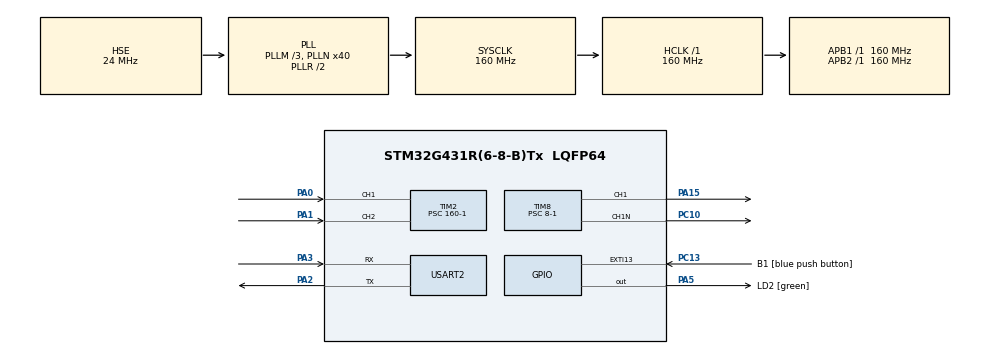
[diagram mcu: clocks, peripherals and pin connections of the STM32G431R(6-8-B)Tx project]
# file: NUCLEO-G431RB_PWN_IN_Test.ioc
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Mcu.Family=STM32G4
Mcu.Name=STM32G431R(6-8-B)Tx
Mcu.Package=LQFP64
NVIC.PriorityGroup=NVIC_PRIORITYGROUP_4
NVIC.TIM2_IRQn=true\:0\:0\:false\:false\:true\:true\:true\:true
NVIC.TIM6_DAC_IRQn=true\:15\:0\:false\:false\:true\:false\:true\:true
NVIC.TimeBase=TIM6_DAC_IRQn
NVIC.TimeBaseIP=TIM6
NVIC.USART2_IRQn=true\:0\:0\:false\:false\:true\:true\:true\:true
PA0.Signal=S_TIM2_CH1
PA1.Signal=S_TIM2_CH2
PA13.GPIO_Label=T_SWDIO
PA13.Mode=Serial_Wire
PA13.Signal=SYS_JTMS-SWDIO
PA14.GPIO_Label=T_SWCLK
PA14.Mode=Serial_Wire
PA14.Signal=SYS_JTCK-SWCLK
PA15.Signal=S_TIM8_CH1
PA2.Mode=Asynchronous
PA2.Signal=USART2_TX
PA3.Mode=Asynchronous
PA3.Signal=USART2_RX
PA5.GPIO_Label=LD2 [green]
PA5.Signal=GPIO_Output
PC10.Mode=PWM Generation1 CH1 CH1N
PC10.Signal=TIM8_CH1N
PC13.GPIO_Label=B1 [blue push button]
PC13.Signal=GPXTI13
PC14-OSC32_IN.Mode=LSE-External-Oscillator
PC14-OSC32_IN.Signal=RCC_OSC32_IN
PC15-OSC32_OUT.Mode=LSE-External-Oscillator
PC15-OSC32_OUT.Signal=RCC_OSC32_OUT
PF0-OSC_IN.Mode=HSE-External-Oscillator
PF0-OSC_IN.Signal=RCC_OSC_IN
PF1-OSC_OUT.Mode=HSE-External-Oscillator
PF1-OSC_OUT.Signal=RCC_OSC_OUT
ProjectManager.HeapSize=0x200
ProjectManager.StackSize=0x400
ProjectManager.TargetToolchain=STM32CubeIDE
RCC.ADC12Freq_Value=160000000
RCC.AHBFreq_Value=160000000
RCC.APB1Freq_Value=160000000
RCC.APB1TimFreq_Value=160000000
RCC.APB2Freq_Value=160000000
RCC.APB2TimFreq_Value=160000000
RCC.CortexFreq_Value=160000000
RCC.EXTERNAL_CLOCK_VALUE=12288000
RCC.HCLKFreq_Value=160000000
RCC.HSE_VALUE=24000000
RCC.HSI48_VALUE=48000000
RCC.HSI_VALUE=16000000
RCC.PLLM=RCC_PLLM_DIV3
RCC.PLLN=40
RCC.PLLSourceVirtual=RCC_PLLSOURCE_HSE
RCC.RTCClockSelection=RCC_RTCCLKSOURCE_LSE
RCC.SYSCLKFreq_VALUE=160000000
RCC.SYSCLKSource=RCC_SYSCLKSOURCE_PLLCLK
RCC.USBFreq_Value=160000000
RCC.VCOOutputFreq_Value=320000000
SH.S_TIM2_CH1.0=TIM2_CH1,Input_Capture1_from_TI1
SH.S_TIM2_CH2.0=TIM2_CH2,Input_Capture2_from_TI2
SH.S_TIM8_CH1.0=TIM8_CH1,PWM Generation1 CH1 CH1N
TIM2.Channel-Input_Capture1_from_TI1=TIM_CHANNEL_1
TIM2.Channel-Input_Capture2_from_TI2=TIM_CHANNEL_2
TIM2.ICPolarity_CH1=TIM_INPUTCHANNELPOLARITY_BOTHEDGE
TIM2.ICPolarity_CH2=TIM_INPUTCHANNELPOLARITY_BOTHEDGE
TIM2.PeriodNoDither=65535
TIM2.Prescaler=160-1
TIM8.Channel-PWM\ Generation1\ CH1\ CH1N=TIM_CHANNEL_1
TIM8.PeriodNoDither=1000-1
TIM8.Prescaler=8-1
USART2.VirtualMode-Asynchronous=VM_ASYNC
VP_SYS_VS_DBSignals.Mode=DisableDeadBatterySignals
VP_SYS_VS_tim6.Mode=TIM6
VP_TIM2_VS_ClockSourceINT.Mode=Internal
VP_TIM8_VS_ClockSourceINT.Mode=Internal
board=NUCLEO-G431RB

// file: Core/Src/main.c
/* USER CODE BEGIN Header */
/**
 ******************************************************************************
 * @file           : main.c
 * @brief          : Main program body
 ******************************************************************************
 * @attention
 *
 * Copyright (c) 2023 STMicroelectronics.
 * All rights reserved.
 *
 * This software is licensed under terms that can be found in the LICENSE file
 * in the root directory of this software component.
 * If no LICENSE file comes with this software, it is provided AS-IS.
 *
 ******************************************************************************
 */
/* USER CODE END Header */
#include "main.h"

/* USER CODE BEGIN PD */
#define uartTxBufferSize 64
/* USER CODE END PD */

TIM_HandleTypeDef htim2;
TIM_HandleTypeDef htim8;

UART_HandleTypeDef huart2;

/* USER CODE BEGIN PV */
uint8_t uartTxBuffer[uartTxBufferSize];
uint8_t countPrint=0;
/* USER CODE END PV */

void SystemClock_Config(void);
static void MX_GPIO_Init(void);
static void MX_TIM8_Init(void);
static void MX_USART2_UART_Init(void);
static void MX_TIM2_Init(void);

/* USER CODE BEGIN 0 */
uint32_t IcChannel1Up, IcChannel1Down, IcChannel2Up, IcChannel2Down = 0;
uint32_t IcDiffChannel1, IcDiffChannel2, IcDiffDeadTime12, IcDiffDeadTime21 = 0;
int IsFirstCapturedChannel1,IsFirstCapturedChannel2 = 0;
// Frequency
float frequency1, frequency2 = 0;
void HAL_TIM_IC_CaptureCallback(TIM_HandleTypeDef *htim)
{
	if(htim->Channel == HAL_TIM_ACTIVE_CHANNEL_1){
		if(IsFirstCapturedChannel1==0){
			IcChannel1Up = HAL_TIM_ReadCapturedValue(htim, TIM_CHANNEL_1);
			IsFirstCapturedChannel1 = 1;
		}
		else{
			IcChannel1Down = HAL_TIM_ReadCapturedValue(htim, TIM_CHANNEL_1);
			if(IcChannel1Down > IcChannel1Up){
				IcDiffChannel1 = IcChannel1Down-IcChannel1Up;
			}
			else{
				IcDiffChannel1 = (0xFFFF- IcChannel1Up) + IcChannel1Down;
			}

			float refClk = 1000000;

			frequency1 = refClk/IcDiffChannel1;

			//__HAL_TIM_SET_COUNTER(htim,0);
			IsFirstCapturedChannel1 = 0;

		}
	}

	if(htim->Channel == HAL_TIM_ACTIVE_CHANNEL_2){
		if(IsFirstCapturedChannel2==0){
			IcChannel2Down = HAL_TIM_ReadCapturedValue(htim, TIM_CHANNEL_2);
			IsFirstCapturedChannel2 = 1;
		}
		else{
			IcChannel2Up = HAL_TIM_ReadCapturedValue(htim, TIM_CHANNEL_2);
			if(IcChannel2Down > IcChannel2Up){
				IcDiffChannel2 = IcChannel2Down-IcChannel2Up;
			}
			else{
				IcDiffChannel2 = (0xFFFF- IcChannel2Up) + IcChannel2Down;
			}

			float refClk = 1000000;

			frequency2 = refClk/IcDiffChannel2;

			//__HAL_TIM_SET_COUNTER(htim,0);
			IsFirstCapturedChannel2 = 0;

		}
	}

}
/* USER CODE END 0 */

int main(void)
{

  /* MCU Configuration--------------------------------------------------------*/

  /* Reset of all peripherals, Initializes the Flash interface and the Systick. */
  HAL_Init();

  /* Configure the system clock */
  SystemClock_Config();

  /* Initialize all configured peripherals */
  MX_GPIO_Init();
  MX_TIM8_Init();
  MX_USART2_UART_Init();
  MX_TIM2_Init();
  /* USER CODE BEGIN 2 */
	__HAL_TIM_SET_COMPARE(&htim8,TIM_CHANNEL_1,300);
	HAL_TIM_PWM_Start(&htim8, TIM_CHANNEL_1);
	HAL_TIMEx_PWMN_Start(&htim8, TIM_CHANNEL_1);

	HAL_TIM_IC_Start_IT(&htim2, TIM_CHANNEL_1);
	HAL_TIM_IC_Start_IT(&htim2, TIM_CHANNEL_2);
  /* USER CODE END 2 */

  /* Infinite loop */
  /* USER CODE BEGIN WHILE */
	while (1)
	{
		if(countPrint==0){
			int printSize;
			printSize = snprintf(uartTxBuffer, uartTxBufferSize,"Frequency = %5.1f,Frequency = %5.1f,\r\n",frequency1,frequency2);
			HAL_UART_Transmit(&huart2, uartTxBuffer, printSize, 100);

		}
		HAL_Delay(1000);
    /* USER CODE END WHILE */

	}
}

/**
  * @brief System Clock Configurat500ion
  * @retval None
  */
void SystemClock_Config(void)
{
  RCC_OscInitTypeDef RCC_OscInitStruct = {0};
  RCC_ClkInitTypeDef RCC_ClkInitStruct = {0};

  /** Configure the main internal regulator output voltage
  */
  HAL_PWREx_ControlVoltageScaling(PWR_REGULATOR_VOLTAGE_SCALE1_BOOST);

  /** Initializes the RCC Oscillators according to the specified parameters
  * in the RCC_OscInitTypeDef structure.
  */
  RCC_OscInitStruct.OscillatorType = RCC_OSCILLATORTYPE_HSE;
  RCC_OscInitStruct.HSEState = RCC_HSE_ON;
  RCC_OscInitStruct.PLL.PLLState = RCC_PLL_ON;
  RCC_OscInitStruct.PLL.PLLSource = RCC_PLLSOURCE_HSE;
  RCC_OscInitStruct.PLL.PLLM = RCC_PLLM_DIV3;
  RCC_OscInitStruct.PLL.PLLN = 40;
  RCC_OscInitStruct.PLL.PLLP = RCC_PLLP_DIV2;
  RCC_OscInitStruct.PLL.PLLQ = RCC_PLLQ_DIV2;
  RCC_OscInitStruct.PLL.PLLR = RCC_PLLR_DIV2;
  if (HAL_RCC_OscConfig(&RCC_OscInitStruct) != HAL_OK)
  {
    Error_Handler();
  }

  /** Initializes the CPU, AHB and APB buses clocks
  */
  RCC_ClkInitStruct.ClockType = RCC_CLOCKTYPE_HCLK|RCC_CLOCKTYPE_SYSCLK
                              |RCC_CLOCKTYPE_PCLK1|RCC_CLOCKTYPE_PCLK2;
  RCC_ClkInitStruct.SYSCLKSource = RCC_SYSCLKSOURCE_PLLCLK;
  RCC_ClkInitStruct.AHBCLKDivider = RCC_SYSCLK_DIV1;
  RCC_ClkInitStruct.APB1CLKDivider = RCC_HCLK_DIV1;
  RCC_ClkInitStruct.APB2CLKDivider = RCC_HCLK_DIV1;

  if (HAL_RCC_ClockConfig(&RCC_ClkInitStruct, FLASH_LATENCY_4) != HAL_OK)
  {
    Error_Handler();
  }
}

static void MX_TIM2_Init(void)
{

  TIM_ClockConfigTypeDef sClockSourceConfig = {0};
  TIM_MasterConfigTypeDef sMasterConfig = {0};
  TIM_IC_InitTypeDef sConfigIC = {0};

  htim2.Instance = TIM2;
  htim2.Init.Prescaler = 160-1;
  htim2.Init.CounterMode = TIM_COUNTERMODE_UP;
  htim2.Init.Period = 65535;
  htim2.Init.ClockDivision = TIM_CLOCKDIVISION_DIV1;
  htim2.Init.AutoReloadPreload = TIM_AUTORELOAD_PRELOAD_DISABLE;
  if (HAL_TIM_Base_Init(&htim2) != HAL_OK)
  {
    Error_Handler();
  }
  sClockSourceConfig.ClockSource = TIM_CLOCKSOURCE_INTERNAL;
  if (HAL_TIM_ConfigClockSource(&htim2, &sClockSourceConfig) != HAL_OK)
  {
    Error_Handler();
  }
  if (HAL_TIM_IC_Init(&htim2) != HAL_OK)
  {
    Error_Handler();
  }
  sMasterConfig.MasterOutputTrigger = TIM_TRGO_RESET;
  sMasterConfig.MasterSlaveMode = TIM_MASTERSLAVEMODE_DISABLE;
  if (HAL_TIMEx_MasterConfigSynchronization(&htim2, &sMasterConfig) != HAL_OK)
  {
    Error_Handler();
  }
  sConfigIC.ICPolarity = TIM_INPUTCHANNELPOLARITY_BOTHEDGE;
  sConfigIC.ICSelection = TIM_ICSELECTION_DIRECTTI;
  sConfigIC.ICPrescaler = TIM_ICPSC_DIV1;
  sConfigIC.ICFilter = 0;
  if (HAL_TIM_IC_ConfigChannel(&htim2, &sConfigIC, TIM_CHANNEL_1) != HAL_OK)
  {
    Error_Handler();
  }
  if (HAL_TIM_IC_ConfigChannel(&htim2, &sConfigIC, TIM_CHANNEL_2) != HAL_OK)
  {
    Error_Handler();
  }

}

static void MX_TIM8_Init(void)
{

  TIM_ClockConfigTypeDef sClockSourceConfig = {0};
  TIM_MasterConfigTypeDef sMasterConfig = {0};
  TIM_OC_InitTypeDef sConfigOC = {0};
  TIM_BreakDeadTimeConfigTypeDef sBreakDeadTimeConfig = {0};

  htim8.Instance = TIM8;
  htim8.Init.Prescaler = 8-1;
  htim8.Init.CounterMode = TIM_COUNTERMODE_UP;
  htim8.Init.Period = 999;
  htim8.Init.ClockDivision = TIM_CLOCKDIVISION_DIV1;
  htim8.Init.RepetitionCounter = 0;
  htim8.Init.AutoReloadPreload = TIM_AUTORELOAD_PRELOAD_DISABLE;
  if (HAL_TIM_Base_Init(&htim8) != HAL_OK)
  {
    Error_Handler();
  }
  sClockSourceConfig.ClockSource = TIM_CLOCKSOURCE_INTERNAL;
  if (HAL_TIM_ConfigClockSource(&htim8, &sClockSourceConfig) != HAL_OK)
  {
    Error_Handler();
  }
  if (HAL_TIM_PWM_Init(&htim8) != HAL_OK)
  {
    Error_Handler();
  }
  sMasterConfig.MasterOutputTrigger = TIM_TRGO_RESET;
  sMasterConfig.MasterOutputTrigger2 = TIM_TRGO2_RESET;
  sMasterConfig.MasterSlaveMode = TIM_MASTERSLAVEMODE_DISABLE;
  if (HAL_TIMEx_MasterConfigSynchronization(&htim8, &sMasterConfig) != HAL_OK)
  {
    Error_Handler();
  }
  sConfigOC.OCMode = TIM_OCMODE_PWM1;
  sConfigOC.Pulse = 0;
  sConfigOC.OCPolarity = TIM_OCPOLARITY_HIGH;
  sConfigOC.OCNPolarity = TIM_OCNPOLARITY_HIGH;
  sConfigOC.OCFastMode = TIM_OCFAST_DISABLE;
  sConfigOC.OCIdleState = TIM_OCIDLESTATE_RESET;
  sConfigOC.OCNIdleState = TIM_OCNIDLESTATE_RESET;
  if (HAL_TIM_PWM_ConfigChannel(&htim8, &sConfigOC, TIM_CHANNEL_1) != HAL_OK)
  {
    Error_Handler();
  }
  sBreakDeadTimeConfig.OffStateRunMode = TIM_OSSR_DISABLE;
  sBreakDeadTimeConfig.OffStateIDLEMode = TIM_OSSI_DISABLE;
  sBreakDeadTimeConfig.LockLevel = TIM_LOCKLEVEL_OFF;
  sBreakDeadTimeConfig.DeadTime = 0;
  sBreakDeadTimeConfig.BreakState = TIM_BREAK_DISABLE;
  sBreakDeadTimeConfig.BreakPolarity = TIM_BREAKPOLARITY_HIGH;
  sBreakDeadTimeConfig.BreakFilter = 0;
  sBreakDeadTimeConfig.BreakAFMode = TIM_BREAK_AFMODE_INPUT;
  sBreakDeadTimeConfig.Break2State = TIM_BREAK2_DISABLE;
  sBreakDeadTimeConfig.Break2Polarity = TIM_BREAK2POLARITY_HIGH;
  sBreakDeadTimeConfig.Break2Filter = 0;
  sBreakDeadTimeConfig.Break2AFMode = TIM_BREAK_AFMODE_INPUT;
  sBreakDeadTimeConfig.AutomaticOutput = TIM_AUTOMATICOUTPUT_DISABLE;
  if (HAL_TIMEx_ConfigBreakDeadTime(&htim8, &sBreakDeadTimeConfig) != HAL_OK)
  {
    Error_Handler();
  }
  HAL_TIM_MspPostInit(&htim8);

}

static void MX_USART2_UART_Init(void)
{

  huart2.Instance = USART2;
  huart2.Init.BaudRate = 115200;
  huart2.Init.WordLength = UART_WORDLENGTH_8B;
  huart2.Init.StopBits = UART_STOPBITS_1;
  huart2.Init.Parity = UART_PARITY_NONE;
  huart2.Init.Mode = UART_MODE_TX_RX;
  huart2.Init.HwFlowCtl = UART_HWCONTROL_NONE;
  huart2.Init.OverSampling = UART_OVERSAMPLING_16;
  huart2.Init.OneBitSampling = UART_ONE_BIT_SAMPLE_DISABLE;
  huart2.Init.ClockPrescaler = UART_PRESCALER_DIV1;
  huart2.AdvancedInit.AdvFeatureInit = UART_ADVFEATURE_NO_INIT;
  if (HAL_UART_Init(&huart2) != HAL_OK)
  {
    Error_Handler();
  }
  if (HAL_UARTEx_SetTxFifoThreshold(&huart2, UART_TXFIFO_THRESHOLD_1_8) != HAL_OK)
  {
    Error_Handler();
  }
  if (HAL_UARTEx_SetRxFifoThreshold(&huart2, UART_RXFIFO_THRESHOLD_1_8) != HAL_OK)
  {
    Error_Handler();
  }
  if (HAL_UARTEx_DisableFifoMode(&huart2) != HAL_OK)
  {
    Error_Handler();
  }

}

static void MX_GPIO_Init(void)
{
  GPIO_InitTypeDef GPIO_InitStruct = {0};

  /* GPIO Ports Clock Enable */
  __HAL_RCC_GPIOC_CLK_ENABLE();
  __HAL_RCC_GPIOF_CLK_ENABLE();
  __HAL_RCC_GPIOA_CLK_ENABLE();

  /*Configure GPIO pin Output Level */
  HAL_GPIO_WritePin(LD2_GPIO_Port, LD2_Pin, GPIO_PIN_RESET);

  /*Configure GPIO pin : B1_Pin */
  GPIO_InitStruct.Pin = B1_Pin;
  GPIO_InitStruct.Mode = GPIO_MODE_IT_RISING;
  GPIO_InitStruct.Pull = GPIO_NOPULL;
  HAL_GPIO_Init(B1_GPIO_Port, &GPIO_InitStruct);

  /*Configure GPIO pin : LD2_Pin */
  GPIO_InitStruct.Pin = LD2_Pin;
  GPIO_InitStruct.Mode = GPIO_MODE_OUTPUT_PP;
  GPIO_InitStruct.Pull = GPIO_NOPULL;
  GPIO_InitStruct.Speed = GPIO_SPEED_FREQ_LOW;
  HAL_GPIO_Init(LD2_GPIO_Port, &GPIO_InitStruct);

}

void HAL_TIM_PeriodElapsedCallback(TIM_HandleTypeDef *htim)
{
  if (htim->Instance == TIM6) {
    HAL_IncTick();
  }
}

void Error_Handler(void)
{
	__disable_irq();
	while (1)
	{
	}
}
